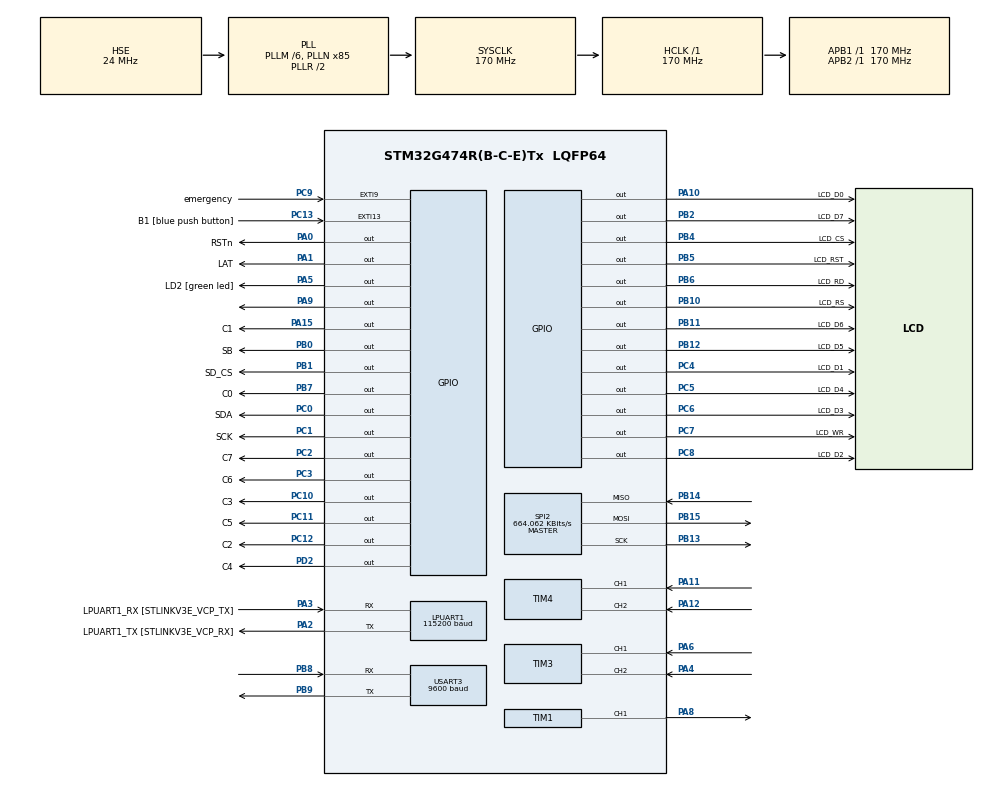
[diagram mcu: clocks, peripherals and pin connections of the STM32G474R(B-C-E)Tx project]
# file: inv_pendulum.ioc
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ARM.CMSIS-DSP.1.15.0.CMSISJjDSP=Source
ARM.CMSIS.6.0.0.CMSISJjCORE=true
Dma.Request0=USART3_RX
Dma.Request1=USART3_TX
Dma.USART3_RX.0.Direction=DMA_PERIPH_TO_MEMORY
Dma.USART3_RX.0.EventEnable=DISABLE
Dma.USART3_RX.0.Instance=DMA1_Channel1
Dma.USART3_RX.0.MemDataAlignment=DMA_MDATAALIGN_BYTE
Dma.USART3_RX.0.MemInc=DMA_MINC_ENABLE
Dma.USART3_RX.0.Mode=DMA_CIRCULAR
Dma.USART3_RX.0.PeriphDataAlignment=DMA_PDATAALIGN_BYTE
Dma.USART3_RX.0.PeriphInc=DMA_PINC_DISABLE
Dma.USART3_RX.0.Polarity=HAL_DMAMUX_REQ_GEN_RISING
Dma.USART3_RX.0.Priority=DMA_PRIORITY_LOW
Dma.USART3_RX.0.RequestNumber=1
Dma.USART3_RX.0.SignalID=NONE
Dma.USART3_RX.0.SyncEnable=DISABLE
Dma.USART3_RX.0.SyncPolarity=HAL_DMAMUX_SYNC_NO_EVENT
Dma.USART3_RX.0.SyncRequestNumber=1
Dma.USART3_RX.0.SyncSignalID=NONE
Dma.USART3_TX.1.Direction=DMA_MEMORY_TO_PERIPH
Dma.USART3_TX.1.EventEnable=DISABLE
Dma.USART3_TX.1.Instance=DMA1_Channel2
Dma.USART3_TX.1.MemDataAlignment=DMA_MDATAALIGN_BYTE
Dma.USART3_TX.1.MemInc=DMA_MINC_ENABLE
Dma.USART3_TX.1.Mode=DMA_NORMAL
Dma.USART3_TX.1.PeriphDataAlignment=DMA_PDATAALIGN_BYTE
Dma.USART3_TX.1.PeriphInc=DMA_PINC_DISABLE
Dma.USART3_TX.1.Polarity=HAL_DMAMUX_REQ_GEN_RISING
Dma.USART3_TX.1.Priority=DMA_PRIORITY_LOW
Dma.USART3_TX.1.RequestNumber=1
Dma.USART3_TX.1.SignalID=NONE
Dma.USART3_TX.1.SyncEnable=DISABLE
Dma.USART3_TX.1.SyncPolarity=HAL_DMAMUX_SYNC_NO_EVENT
Dma.USART3_TX.1.SyncRequestNumber=1
Dma.USART3_TX.1.SyncSignalID=NONE
IWDG.Prescaler=IWDG_PRESCALER_32
IWDG.Reload=4095
IWDG.Window=4095
LPUART1.BaudRate=115200
Mcu.Family=STM32G4
Mcu.Name=STM32G474R(B-C-E)Tx
Mcu.Package=LQFP64
NVIC.DMA1_Channel1_IRQn=true\:0\:0\:false\:false\:true\:false\:true\:true
NVIC.DMA1_Channel2_IRQn=true\:0\:0\:false\:false\:true\:false\:true\:true
NVIC.EXTI15_10_IRQn=true\:0\:0\:false\:false\:true\:true\:true\:true
NVIC.PriorityGroup=NVIC_PRIORITYGROUP_4
NVIC.TIM2_IRQn=true\:0\:0\:true\:false\:true\:true\:true\:true
NVIC.TIM6_DAC_IRQn=true\:0\:0\:true\:false\:true\:true\:true\:true
NVIC.USART3_IRQn=true\:0\:0\:false\:false\:true\:true\:true\:true
PA0.GPIO_Label=RSTn
PA0.Signal=GPIO_Output
PA1.GPIO_Label=LAT
PA1.Signal=GPIO_Output
PA10.GPIO_Label=LCD_D0
PA10.Signal=GPIO_Output
PA11.Signal=S_TIM4_CH1
PA12.Signal=S_TIM4_CH2
PA13.GPIO_Label=T_SWDIO
PA13.Signal=SYS_JTMS-SWDIO
PA14.GPIO_Label=T_SWCLK
PA14.Signal=SYS_JTCK-SWCLK
PA15.GPIO_Label=C1
PA15.Signal=GPIO_Output
PA2.GPIO_Label=LPUART1_TX [STLINKV3E_VCP_RX]
PA2.Mode=Asynchronous
PA2.Signal=LPUART1_TX
PA3.GPIO_Label=LPUART1_RX [STLINKV3E_VCP_TX]
PA3.Mode=Asynchronous
PA3.Signal=LPUART1_RX
PA4.Signal=S_TIM3_CH2
PA5.GPIO_Label=LD2 [green led]
PA5.Signal=GPIO_Output
PA6.Signal=S_TIM3_CH1
PA8.Signal=S_TIM1_CH1
PA9.Signal=GPIO_Output
PB0.GPIO_Label=SB
PB0.Signal=GPIO_Output
PB1.GPIO_Label=SD_CS
PB1.Signal=GPIO_Output
PB10.GPIO_Label=LCD_RS
PB10.Signal=GPIO_Output
PB11.GPIO_Label=LCD_D6
PB11.Signal=GPIO_Output
PB12.GPIO_Label=LCD_D5
PB12.Signal=GPIO_Output
PB13.Mode=Full_Duplex_Master
PB13.Signal=SPI2_SCK
PB14.Mode=Full_Duplex_Master
PB14.Signal=SPI2_MISO
PB15.Mode=Full_Duplex_Master
PB15.Signal=SPI2_MOSI
PB2.GPIO_Label=LCD_D7
PB2.Signal=GPIO_Output
PB3.GPIO_Label=T_SWO
PB3.Signal=SYS_JTDO-SWO
PB4.GPIO_Label=LCD_CS
PB4.Signal=GPIO_Output
PB5.GPIO_Label=LCD_RST
PB5.Signal=GPIO_Output
PB6.GPIO_Label=LCD_RD
PB6.Signal=GPIO_Output
PB7.GPIO_Label=C0
PB7.Signal=GPIO_Output
PB8-BOOT0.Mode=Asynchronous
PB8-BOOT0.Signal=USART3_RX
PB9.Mode=Asynchronous
PB9.Signal=USART3_TX
PC0.GPIO_Label=SDA
PC0.Signal=GPIO_Output
PC1.GPIO_Label=SCK
PC1.Signal=GPIO_Output
PC10.GPIO_Label=C3
PC10.Signal=GPIO_Output
PC11.GPIO_Label=C5
PC11.Signal=GPIO_Output
PC12.GPIO_Label=C2
PC12.Signal=GPIO_Output
PC13.GPIO_Label=B1 [blue push button]
PC13.Signal=GPXTI13
PC14-OSC32_IN.GPIO_Label=RCC_OSC32_IN
PC14-OSC32_IN.Mode=LSE-External-Oscillator
PC14-OSC32_IN.Signal=RCC_OSC32_IN
PC15-OSC32_OUT.GPIO_Label=RCC_OSC32_OUT
PC15-OSC32_OUT.Mode=LSE-External-Oscillator
PC15-OSC32_OUT.Signal=RCC_OSC32_OUT
PC2.GPIO_Label=C7
PC2.Signal=GPIO_Output
PC3.GPIO_Label=C6
PC3.Signal=GPIO_Output
PC4.GPIO_Label=LCD_D1
PC4.Signal=GPIO_Output
PC5.GPIO_Label=LCD_D4
PC5.Signal=GPIO_Output
PC6.GPIO_Label=LCD_D3
PC6.Signal=GPIO_Output
PC7.GPIO_Label=LCD_WR
PC7.Signal=GPIO_Output
PC8.GPIO_Label=LCD_D2
PC8.Signal=GPIO_Output
PC9.GPIO_Label=emergency
PC9.Signal=GPXTI9
PD2.GPIO_Label=C4
PD2.Signal=GPIO_Output
PF0-OSC_IN.GPIO_Label=RCC_OSC_IN
PF0-OSC_IN.Mode=HSE-External-Oscillator
PF0-OSC_IN.Signal=RCC_OSC_IN
PF1-OSC_OUT.GPIO_Label=RCC_OSC_OUT
PF1-OSC_OUT.Mode=HSE-External-Oscillator
PF1-OSC_OUT.Signal=RCC_OSC_OUT
ProjectManager.HeapSize=0x200
ProjectManager.StackSize=0x400
ProjectManager.TargetToolchain=STM32CubeIDE
RCC.ADC12Freq_Value=170000000
RCC.ADC345Freq_Value=170000000
RCC.AHBFreq_Value=170000000
RCC.APB1Freq_Value=170000000
RCC.APB1TimFreq_Value=170000000
RCC.APB2Freq_Value=170000000
RCC.APB2TimFreq_Value=170000000
RCC.CortexFreq_Value=170000000
RCC.EXTERNAL_CLOCK_VALUE=12288000
RCC.HCLKFreq_Value=170000000
RCC.HSE_VALUE=24000000
RCC.HSI48_VALUE=48000000
RCC.HSI_VALUE=16000000
RCC.PLLM=RCC_PLLM_DIV6
RCC.PLLN=85
RCC.PLLSourceVirtual=RCC_PLLSOURCE_HSE
RCC.RTCClockSelection=RCC_RTCCLKSOURCE_LSE
RCC.SYSCLKFreq_VALUE=170000000
RCC.SYSCLKSource=RCC_SYSCLKSOURCE_PLLCLK
RCC.USBFreq_Value=170000000
RCC.VCOOutputFreq_Value=340000000
RTC.Alarm-Alarm\ A=RTC_ALARM_A
SH.S_TIM1_CH1.0=TIM1_CH1,PWM Generation1 CH1
SH.S_TIM3_CH1.0=TIM3_CH1,Encoder_Interface
SH.S_TIM3_CH2.0=TIM3_CH2,Encoder_Interface
SH.S_TIM4_CH1.0=TIM4_CH1,Encoder_Interface
SH.S_TIM4_CH2.0=TIM4_CH2,Encoder_Interface
SPI2.BaudRatePrescaler=SPI_BAUDRATEPRESCALER_256
SPI2.CalculateBaudRate=664.062 KBits/s
SPI2.DataSize=SPI_DATASIZE_8BIT
SPI2.Direction=SPI_DIRECTION_2LINES
SPI2.Mode=SPI_MODE_MASTER
SPI2.VirtualType=VM_MASTER
TIM1.Channel-PWM\ Generation1\ CH1=TIM_CHANNEL_1
TIM1.PeriodNoDither=65535
TIM1.Prescaler=71
TIM2.PeriodNoDither=999
TIM2.Prescaler=169
TIM3.EncoderMode=TIM_ENCODERMODE_TI12
TIM4.EncoderMode=TIM_ENCODERMODE_TI12
TIM6.PeriodNoDither=999
TIM6.Prescaler=169
USART3.BaudRate=9600
USART3.VirtualMode-Asynchronous=VM_ASYNC
VP_ARM.CMSIS-DSP_VS_CMSISJjDSP_1.15.0_1.15.0.Mode=CMSISJjDSP
VP_ARM.CMSIS_VS_CMSISJjCORE_6.0.0_6.0.0.Mode=CMSISJjCORE
VP_FATFS_VS_Generic.Mode=User_defined
VP_IWDG_VS_IWDG.Mode=IWDG_Activate
VP_RTC_VS_RTC_Activate.Mode=RTC_Enabled
VP_RTC_VS_RTC_Alarm_A_Intern.Mode=Alarm A
VP_RTC_VS_RTC_Calendar.Mode=RTC_Calendar
VP_SYS_VS_DBSignals.Mode=DisableDeadBatterySignals
VP_TIM1_VS_ClockSourceINT.Mode=Internal
VP_TIM2_VS_ClockSourceINT.Mode=Internal
VP_TIM6_VS_ClockSourceINT.Mode=Enable_Timer
board=NUCLEO-G474RE

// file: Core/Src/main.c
/* USER CODE BEGIN Header */
/**
 ******************************************************************************
 * @file           : main.c
 * @brief          : Main program body
 ******************************************************************************
 * @attention
 *
 * Copyright (c) 2025 STMicroelectronics.
 * All rights reserved.
 *
 * This software is licensed under terms that can be found in the LICENSE file
 * in the root directory of this software component.
 * If no LICENSE file comes with this software, it is provided AS-IS.
 *
 ******************************************************************************
 */
/* USER CODE END Header */
#include "main.h"
#include "dma.h"
#include "app_fatfs.h"
#include "iwdg.h"
#include "usart.h"
#include "rtc.h"
#include "spi.h"
#include "tim.h"
#include "gpio.h"

/* USER CODE BEGIN Includes */
#include "rip_config.h"
#include "user_setting.h"
#include "fonts.h"
#include "tft.h"
#include "functions.h"
#include <math.h>
#include <stdio.h>
#include <stdarg.h>
/* USER CODE END Includes */

/* USER CODE BEGIN PV */
float cmd_energy_norm, cmd_lqr_volt;
int total_cmd, cmd_energy, cmd_lqr, cmd_kick;

float alpha, alpha_shifted, alpha_dot, theta, theta_dot, voltage_input;

volatile PendulumState state = STATE_WAIT_BUTTON;
int kick_counter = 0;

int debug, emer, released, led_counter = 0;
static uint32_t last_log_time = 0;

RTC_TimeTypeDef current_time_rtc;
RTC_DateTypeDef current_date_rtc;
/* USER CODE END PV */

void SystemClock_Config(void);
/* USER CODE BEGIN PFP */
static inline float wrap_pi(float x);
static inline float wrap_2pi(float x);
void Pendulum_Display_Init(void);
/* USER CODE END PFP */

/* USER CODE BEGIN 0 */
void Debug_Printf(const char *format, ...) {
	char buffer1[128];
	va_list args;
	va_start(args, format);
	int len = vsnprintf(buffer1, sizeof(buffer1), format, args);
	va_end(args);

	if (len > 0 && len < sizeof(buffer1)) {
		HAL_UART_Transmit(&hlpuart1, (uint8_t*) buffer1, len, 100);
	}
}

/* USER CODE END 0 */

int main(void)
{

  /* MCU Configuration--------------------------------------------------------*/

  /* Reset of all peripherals, Initializes the Flash interface and the Systick. */
  HAL_Init();

  /* Configure the system clock */
  SystemClock_Config();

  /* Initialize all configured peripherals */
  MX_GPIO_Init();
  MX_DMA_Init();
  MX_TIM1_Init();
  MX_TIM2_Init();
  MX_TIM3_Init();
  MX_TIM4_Init();
  MX_SPI2_Init();
  MX_USART3_UART_Init();
  if (MX_FATFS_Init() != APP_OK) {
    Error_Handler();
  }
  MX_LPUART1_UART_Init();
  MX_TIM6_Init();
  MX_IWDG_Init();
  MX_RTC_Init();
  /* USER CODE BEGIN 2 */
	config_begin();
	config_begin_communication();
  /* USER CODE END 2 */

  /* Infinite loop */
	while (1) {

    /* USER CODE BEGIN 3 */
		HAL_IWDG_Refresh(&hiwdg);
		emer = HAL_GPIO_ReadPin(emergency_GPIO_Port, emergency_Pin);

		if (bluetooth_enabled) {
			HC05_Process(&hc05);
		}

	    if (lcd_display_enabled && LCD_Display_ShouldUpdate(&hlcd)) {
	        LCD_Display_Update(&hlcd);
	    }

	    /* SD LOGGING with RTC */
	    if (logging_enabled) {
	        uint32_t current_time = HAL_GetTick();

	        if ((current_time - last_log_time) >= 10) {
	            last_log_time = current_time;

	            RTC_TimeTypeDef rtc_time;
	            RTC_DateTypeDef rtc_date;
	            HAL_RTC_GetTime(&hrtc, &rtc_time, RTC_FORMAT_BIN);
	            HAL_RTC_GetDate(&hrtc, &rtc_date, RTC_FORMAT_BIN);

	            SD_Logger_WriteDataWithState(&sd_logger,
	                                        &rtc_time,
	                                        &rtc_date,
	                                        state,
	                                        alpha, alpha_dot,
	                                        theta, theta_dot);
	        }
	    }

        if (sd_logger_enabled && logging_enabled) {
            if (SD_Logger_ShouldFlush(&sd_logger)) {
                SD_Logger_FlushBuffer(&sd_logger);
            }
        }

	}
  /* USER CODE END 3 */
}

void SystemClock_Config(void)
{
  RCC_OscInitTypeDef RCC_OscInitStruct = {0};
  RCC_ClkInitTypeDef RCC_ClkInitStruct = {0};

  /** Configure the main internal regulator output voltage
  */
  HAL_PWREx_ControlVoltageScaling(PWR_REGULATOR_VOLTAGE_SCALE1_BOOST);

  /** Configure LSE Drive Capability
  */
  HAL_PWR_EnableBkUpAccess();
  __HAL_RCC_LSEDRIVE_CONFIG(RCC_LSEDRIVE_LOW);

  /** Initializes the RCC Oscillators according to the specified parameters
  * in the RCC_OscInitTypeDef structure.
  */
  RCC_OscInitStruct.OscillatorType = RCC_OSCILLATORTYPE_LSI|RCC_OSCILLATORTYPE_HSE
                              |RCC_OSCILLATORTYPE_LSE;
  RCC_OscInitStruct.HSEState = RCC_HSE_ON;
  RCC_OscInitStruct.LSEState = RCC_LSE_ON;
  RCC_OscInitStruct.LSIState = RCC_LSI_ON;
  RCC_OscInitStruct.PLL.PLLState = RCC_PLL_ON;
  RCC_OscInitStruct.PLL.PLLSource = RCC_PLLSOURCE_HSE;
  RCC_OscInitStruct.PLL.PLLM = RCC_PLLM_DIV6;
  RCC_OscInitStruct.PLL.PLLN = 85;
  RCC_OscInitStruct.PLL.PLLP = RCC_PLLP_DIV2;
  RCC_OscInitStruct.PLL.PLLQ = RCC_PLLQ_DIV2;
  RCC_OscInitStruct.PLL.PLLR = RCC_PLLR_DIV2;
  if (HAL_RCC_OscConfig(&RCC_OscInitStruct) != HAL_OK)
  {
    Error_Handler();
  }

  /** Initializes the CPU, AHB and APB buses clocks
  */
  RCC_ClkInitStruct.ClockType = RCC_CLOCKTYPE_HCLK|RCC_CLOCKTYPE_SYSCLK
                              |RCC_CLOCKTYPE_PCLK1|RCC_CLOCKTYPE_PCLK2;
  RCC_ClkInitStruct.SYSCLKSource = RCC_SYSCLKSOURCE_PLLCLK;
  RCC_ClkInitStruct.AHBCLKDivider = RCC_SYSCLK_DIV1;
  RCC_ClkInitStruct.APB1CLKDivider = RCC_HCLK_DIV1;
  RCC_ClkInitStruct.APB2CLKDivider = RCC_HCLK_DIV1;

  if (HAL_RCC_ClockConfig(&RCC_ClkInitStruct, FLASH_LATENCY_4) != HAL_OK)
  {
    Error_Handler();
  }
}

/* USER CODE BEGIN 4 */
static inline float wrap_pi(float x) {
	while (x > M_PI)
		x -= 2.0f * M_PI;
	while (x <= -M_PI)
		x += 2.0f * M_PI;
	return x;
}

static inline float wrap_2pi(float x) {
	while (x >= 2.0f * M_PI)
		x -= 2.0f * M_PI;
	while (x < 0.0f)
		x += 2.0f * M_PI;
	return x;
}

void HAL_TIM_PeriodElapsedCallback(TIM_HandleTypeDef *htim) {
	if (htim == &htim2) {
		QEI_get_diff_count(&motor_encoder);
		QEI_compute_data(&motor_encoder);
		QEI_get_diff_count(&pendulum_encoder);
		QEI_compute_data(&pendulum_encoder);

		total_cmd = cmd_lqr + cmd_energy + cmd_kick;

		voltage_input = total_cmd * MOTOR_VOLTAGE_LIMIT / 65535.0;

		alpha = wrap_2pi(pendulum_encoder.rads);
		alpha_dot = FIR_process(&alpha_dot_filter, pendulum_encoder.radps);
		theta = motor_encoder.rads;
		theta_dot = kf_update(&motor_filter, voltage_input, theta);

		alpha_shifted = wrap_pi(alpha - M_PI);

        if (led_matrix_enabled && hmatrix.is_initialized) {
        	LED_Matrix_DrawPendulum(&hmatrix, alpha, LED_MATRIX_COLOR_WHITE);
        	LED_Matrix_RefreshISR(&hmatrix);
        }

        if (lcd_display_enabled) {
            LCD_Display_IncrementCounter(&hlcd);
        }

		PendulumState current_state = state;

		switch (state) {
		case STATE_WAIT_BUTTON:
			if (emer) {
				state = STATE_EMERGENCY;
			}

			cmd_lqr = 0;
			if (++led_counter >= 100) {
				HAL_GPIO_TogglePin(LD2_GPIO_Port, LD2_Pin);
				led_counter = 0;
			}
			if (HAL_GPIO_ReadPin(B1_GPIO_Port, B1_Pin) == GPIO_PIN_SET) {
				kick_counter = 0;
				state = STATE_KICK;
				QEI_reset(&pendulum_encoder);
				QEI_reset(&motor_encoder);
				kf_clear(&motor_filter);
				total_cmd = 0;
				HAL_GPIO_WritePin(LD2_GPIO_Port, LD2_Pin, GPIO_PIN_RESET);
			}

			MDXX_set_range(&motor, 2000, 0);
			break;
		case STATE_KICK:
			kick_counter++;
			cmd_kick = (kick_counter < 250) ? 7000 : -7000;

			if (kick_counter < 500) {
				MDXX_set_range(&motor, 2000, cmd_kick);
			} else {
				cmd_kick = 0;
				state = STATE_SWINGUP;
			}
			break;
		case STATE_SWINGUP:
			if (fabsf(alpha_shifted) < 0.25) {
				cmd_energy = 0;
				cmd_kick = 0;
				state = STATE_LQR;
			} else {
				cmd_energy_norm = EnergyCtrl_Update(&swingup, alpha, alpha_dot);
				cmd_energy = (int) (cmd_energy_norm * 6500.0f);
				MDXX_set_range(&motor, 2000, cmd_energy);
			}
			break;
		case STATE_LQR:
			if (fabsf(alpha_shifted) > 0.5f) {
				cmd_energy = 0;
				state = STATE_WAIT_BUTTON;
				MDXX_set_range(&motor, 2000, 0);
			} else {
				LQR_SetState(&lqr_ctrl, theta, alpha_shifted, theta_dot,
						alpha_dot);
				cmd_lqr_volt = LQR_Update(&lqr_ctrl);
				cmd_lqr = (int) (cmd_lqr_volt * 65535.0f / MOTOR_VOLTAGE_LIMIT);
				MDXX_set_range(&motor, 2000, cmd_lqr);
			}
			break;
		case STATE_EMERGENCY:
			cmd_lqr = 0;
			MDXX_set_range(&motor, 2000, 0);
			QEI_reset(&motor_encoder);
			QEI_reset(&pendulum_encoder);
			kf_clear(&motor_filter);
			total_cmd = 0;
			HAL_GPIO_WritePin(LD2_GPIO_Port, LD2_Pin, GPIO_PIN_SET);

			if (emer == 0) {
				released = 1;
			}

			if (released
					&& HAL_GPIO_ReadPin(B1_GPIO_Port, B1_Pin) == GPIO_PIN_SET) {
				state = STATE_WAIT_BUTTON;
				HAL_GPIO_WritePin(LD2_GPIO_Port, LD2_Pin, GPIO_PIN_RESET);
				led_counter = 0;
				released = 0;
				debug = 0;
			}
			break;
		}
	}
}

void HAL_GPIO_EXTI_Callback(uint16_t GPIO_Pin) {
	if (GPIO_Pin == emergency_Pin) {
		state = STATE_EMERGENCY;
		released = 0;
	}
}

void HAL_UART_RxCpltCallback(UART_HandleTypeDef *huart) {
	if (huart == &huart3) {
		HC05_UART_RxCpltCallback(&hc05);
	}
}

void HAL_UART_TxCpltCallback(UART_HandleTypeDef *huart) {
	if (huart == &huart3) {
		HC05_UART_TxCpltCallback(&hc05);
	}
}

void HAL_UART_ErrorCallback(UART_HandleTypeDef *huart) {
	if (huart == &huart3) {
		HC05_UART_ErrorCallback(&hc05);
	}
}
/* USER CODE END 4 */

void Error_Handler(void)
{
	__disable_irq();
	while (1) {
	}
}
